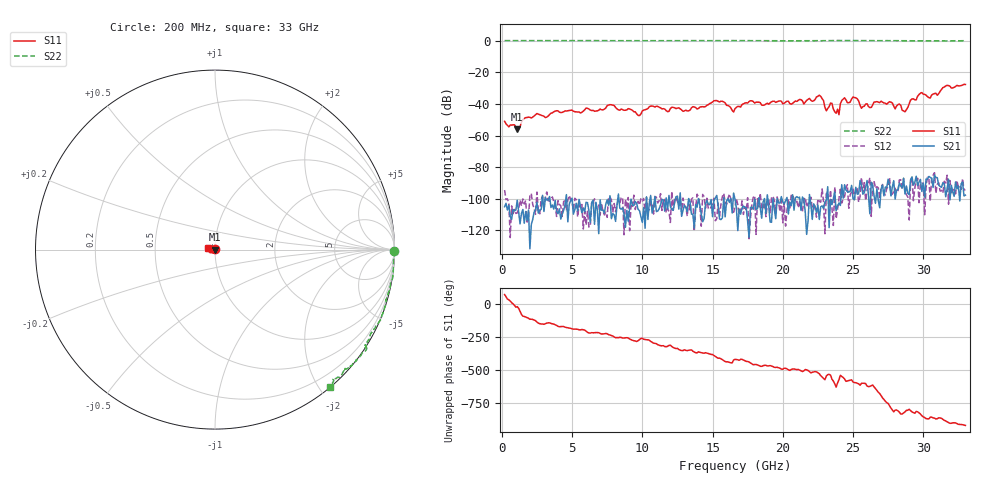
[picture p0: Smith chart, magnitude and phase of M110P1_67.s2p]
# GHZ S RI R 50
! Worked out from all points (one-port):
!   329 points, 200 MHz to 33 GHz, reference 50 ohm
!   lowest |S11| = -56.1 dB at 1.1 GHz (marker M1), VSWR 1.00, Z = 50.1 - j0.0532 ohm
!   |S11| at or under -10 dB: start of sweep to end of sweep
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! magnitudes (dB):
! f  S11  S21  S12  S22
! 200 MHz  -51.0  -105.0  -94.4  0.0
! 1.1 GHz  -56.1  -100.9  -108.8  0.0
! 2.5 GHz  -46.1  -102.1  -95.7  0.0
! 5.7 GHz  -45.3  -108.8  -103.6  0.0
! 7.7 GHz  -40.5  -98.1  -98.9  0.0
! 9.8 GHz  -47.4  -107.5  -104.0  0.0
! 11.2 GHz  -42.1  -106.3  -101.1  0.0
! 13.3 GHz  -44.4  -99.8  -101.4  0.0
! 15.3 GHz  -37.9  -97.8  -112.5  0.0
! 16.6 GHz  -43.0  -100.2  -104.9  0.0
! 22.1 GHz  -38.4  -113.0  -105.8  0.0
! 22.6 GHz  -34.5  -113.1  -101.6  -0.1
! 23.1 GHz  -44.4  -100.7  -96.6  0.0
! 23.5 GHz  -39.7  -103.7  -106.0  -0.1
! 24 GHz  -46.8  -102.6  -99.9  0.1
! 24.4 GHz  -36.1  -91.1  -98.7  0.0
! 25.2 GHz  -36.1  -92.7  -92.9  0.0
! 25.6 GHz  -42.8  -91.2  -86.5  0.0
! 27.6 GHz  -38.6  -90.6  -86.5  0.0
! 28.7 GHz  -45.0  -96.9  -95.6  -0.2
! 29.8 GHz  -33.2  -87.7  -90.1  -0.1
! 33 GHz  -27.7  -97.6  -94.3  0.0
